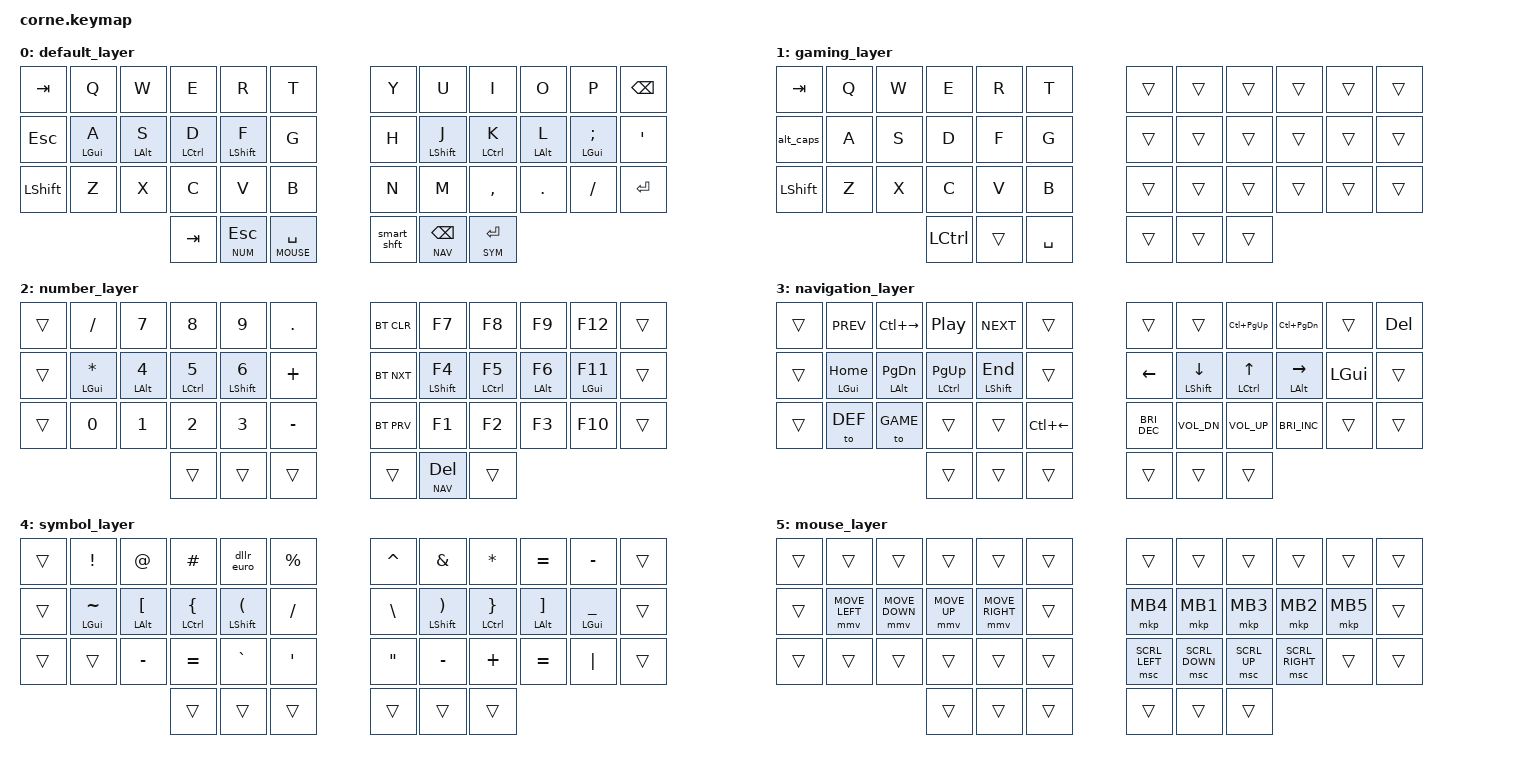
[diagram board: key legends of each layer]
/*
 * Copyright (c) 2020 The ZMK Contributors
 *
 * SPDX-License-Identifier: MIT
 */

// zmk files
#include <behaviors.dtsi>
#include <dt-bindings/zmk/keys.h>
#include <dt-bindings/zmk/bt.h>

#define ZMK_POINTING_DEFAULT_MOVE_VAL 1500  // default: 600
#define UNICODE_COMBO_TIMEOUT 150 // ca. 10500/(relaxed typing speed)
#define ZMK_POINTING_DEFAULT_SCRL_VAL 50    // default: 10

#include <dt-bindings/zmk/pointing.h>

// placeholder names to make layers more readable
#define DEF 0
#define GAME 1
#define NUM 2
#define NAV 3
#define SYM 4
#define MOUSE 5

// my own headers
#include "keys_helper.h"
// #include "unicode_helper.h"
// #include "combos_helper.h"
// #include "qwertz_helper.h"

// ms timings for homerow mods for each side
#define HOMEROW_TAPPING_TERM 280
#define HOMEROW_QUICK_TAP 150 // ca. 10500/(relaxed typing speed)

&sk {  // sticky-key config
    release-after-ms = <600>; // release after 0.6s
    quick-release; // no double capitalization when rolling keys
};

&sl {  // sticky-layer config
    ignore-modifiers; // allow chording sticky mods & layers
};

&lt {  // layer-tap config
    flavor = "balanced";
    tapping-term-ms = <200>;
    quick-tap-ms = <HOMEROW_QUICK_TAP>;
};

&caps_word { // mods don't deactivate caps-word anymore
    /delete-property/ ignore-modifiers;
};

&mmv {
    x-input-code = <INPUT_REL_X>;
    y-input-code = <INPUT_REL_Y>;
    time-to-max-speed-ms = <1000>;
    acceleration-exponent = <1>;
};

&msc {
    x-input-code = <INPUT_REL_HWHEEL>;
    y-input-code = <INPUT_REL_WHEEL>;
    time-to-max-speed-ms = <1000>;
    acceleration-exponent = <1>;
};

/ {
    // https://zmk.dev/docs/features/conditional-layers
    conditional_layers {
        compatible = "zmk,conditional-layers";
        tri_layer {
            if-layers = <NUM NAV>;
            then-layer = <SYM>;
        };
    };

    combos {
        compatible = "zmk,combos";
        combo_ae {
            timeout-ms = <UNICODE_COMBO_TIMEOUT>;
            key-positions = <UC_A UC_E>;
            bindings = <&kp RA(Q)>;
            layers = <SYM>;
        };
        
        combo_oe {
            timeout-ms = <UNICODE_COMBO_TIMEOUT>;
            key-positions = <UC_O UC_E>;
            bindings = <&kp RA(P)>;
            layers = <SYM>;
        };
        
        combo_ue {
            timeout-ms = <UNICODE_COMBO_TIMEOUT>;
            key-positions = <UC_U UC_E>;
            bindings = <&kp RA(Y)>;
            layers = <SYM>;
        };

        combo_sz {
            timeout-ms = <UNICODE_COMBO_TIMEOUT>;
            key-positions = <UC_S UC_Z>;
            bindings = <&kp RA(S)>;
            layers = <SYM>;
        };
    };
    
    behaviors { 
        // tap -> dollar | shift + tap -> euro
        dllr_euro: dllr_euro {
            compatible = "zmk,behavior-mod-morph";
            #binding-cells = <0>;
            bindings = <&kp DLLR>, <&kp RA(N5)>;
            mods = <(MOD_LSFT|MOD_RSFT)>;
        };
        hml: homerow_mods_left {
            compatible = "zmk,behavior-hold-tap";
            #binding-cells = <2>;
            tapping-term-ms = <HOMEROW_TAPPING_TERM>;
            quick-tap-ms = <HOMEROW_QUICK_TAP>;
            require-prior-idle-ms = <HOMEROW_QUICK_TAP>;
            flavor = "balanced";
            bindings = <&kp>, <&kp>;
            hold-trigger-key-positions = <RSIDE THUMBS>;
            hold-trigger-on-release; 
        };
        hmr: homerow_mods_right {
            compatible = "zmk,behavior-hold-tap";
            #binding-cells = <2>;
            tapping-term-ms = <HOMEROW_TAPPING_TERM>;
            quick-tap-ms = <HOMEROW_QUICK_TAP>;
            require-prior-idle-ms = <HOMEROW_QUICK_TAP>;
            flavor = "balanced";
            bindings = <&kp>, <&kp>;
            hold-trigger-key-positions = <LSIDE THUMBS>;
            hold-trigger-on-release; 
        };
        // tap -> sticky shift | shift + tap or double tap -> caps-word | hold -> shift
        smart_shft: smart_shft {
            compatible = "zmk,behavior-mod-morph";
            #binding-cells = <0>;
            bindings = <&sk LSHFT>, <&caps_word>;
            mods = <(MOD_LSFT|MOD_RSFT)>;
        };
        // tap or hold -> LALT | double tap -> Caps Lock
        alt_caps: alt_caps {
            compatible = "zmk,behavior-tap-dance";
            #binding-cells = <0>;
            tapping-term-ms = <200>;
            bindings = <&kp LALT>, <&kp CAPS>;
        };
    };

    keymap {
        compatible = "zmk,keymap";

        default_layer {
// -----------------------------------------------------------------------------------------
// | TAB |  Q  |  W  |  E  |  R  |  T  |   |  Y  |  U  |  I  |  O  |  P  | BKSP |
// | ESC |  A  |  S  |  D  |  F  |  G  |   |  H  |  J  |  K  |  L  |  ;  |  '   |
// | SHFT|  Z  |  X  |  C  |  V  |  B  |   |  N  |  M  |  ,  |  .  |  /  | RET  |
//                   | TAB | ESC | SPC |   | SHFT| BKSP| RET |
            bindings = <
    &kp TAB   &kp Q       &kp W       &kp E         &kp R        &kp T     /**/ &kp Y       &kp U        &kp I        &kp O       &kp P          &kp BSPC
    &kp ESC   &hml LGUI A &hml LALT S &hml LCTRL D  &hml LSHFT F &kp G     /**/ &kp H       &hmr LSHFT J &hmr LCTRL K &hmr LALT L &hmr LGUI SEMI &kp SQT
    &kp LSHFT &kp Z       &kp X       &kp C         &kp V        &kp B     /**/ &kp N       &kp M        &kp COMMA    &kp DOT     &kp FSLH       &kp RET
                                      &kp TAB &lt NUM ESC  &lt MOUSE SPACE /**/ &smart_shft &lt NAV BSPC &lt SYM RET
            >;
        };

        gaming_layer {
// -----------------------------------------------------------------------------------------
// | TAB |  Q  |  W  |  E  |  R  |  T  |   |  Y  |  U  |  I  |  O  |  P  | BSPC |
// | LALT|  A  |  S  |  D  |  F  |  G  |   |  H  |  J  |  K  |  L  |  ;  |  '   |
// | LSFT|  Z  |  X  |  C  |  V  |  B  |   |  N  |  M  |  ,  |  .  |  /  | RET  |
//                   |     |     |     |   |     |     |     |
            bindings = <
    &kp TAB   &kp Q &kp W &kp E     &kp R  &kp T     /**/ &trans &trans &trans &trans &trans &trans
    &alt_caps &kp A &kp S &kp D     &kp F  &kp G     /**/ &trans &trans &trans &trans &trans &trans
    &kp LSHFT &kp Z &kp X &kp C     &kp V  &kp B     /**/ &trans &trans &trans &trans &trans &trans
                          &kp LCTRL &trans &kp SPACE /**/ &trans &trans &trans
            >;
        };

        number_layer {
// -----------------------------------------------------------------------------------------
// |     |  /  |  7  |  8  |  9  |  .  |   | CLR |  F7 |  F8 |  F9 | F12 |     |
// |     |  *  |  4  |  5  |  6  |  +  |   | NXT |  F4 |  F5 |  F6 | F11 |     |
// |     |  0  |  1  |  2  |  3  |  -  |   | PRV |  F1 |  F2 |  F3 | F10 |     |
//                   |     |     |     |   |     |     |     |
            bindings = <
    &trans &kp FSLH       &kp N7       &kp N8        &kp N9        &kp DOT   /**/ &bt BT_CLR &kp F7        &kp F8        &kp F9       &kp F12       &trans
    &trans &hml LGUI STAR &hml LALT N4 &hml LCTRL N5 &hml LSHFT N6 &kp PLUS  /**/ &bt BT_NXT &hmr LSHFT F4 &hmr LCTRL F5 &hmr LALT F6 &hmr LGUI F11 &trans
    &trans &kp N0         &kp N1       &kp N2        &kp N3        &kp MINUS /**/ &bt BT_PRV &kp F1        &kp F2        &kp F3       &kp F10       &trans
                                       &trans        &trans        &trans    /**/ &trans  &lt NAV DEL   &trans
            >;
        };

        navigation_layer {
// -----------------------------------------------------------------------------------------
// |     |  <- |WRDLE| PLAY|  -> |     |   |     |PRETAB|NXTTAB|     |     | DEL |
// |     | LFT | DWN |  UP | RGT |     |   | LEFT| DOWN |  UP  |RIGHT| GUI |     |
// |     |toDEF|toALT|toWNC|toGME|WRDRI|   |BRIDC|VOLDWN| VOLUP|BRIIC|     |     |
//                   |     |     |     |   |     |      |      |
            bindings = <
    &trans &kp C_PREV     &kp LC(RIGHT)   &kp C_PP         &kp C_NEXT     &trans       /**/ &trans        &trans          &kp LC(PG_UP) &kp LC(PG_DN)   &trans   &kp DEL
    &trans &hml LGUI HOME &hml LALT PG_DN &hml LCTRL PG_UP &hml LSHFT END &trans       /**/ &kp LEFT      &hmr LSHFT DOWN &hmr LCTRL UP &hmr LALT RIGHT &kp LGUI &trans
    &trans &to DEF        &to GAME        &trans           &trans       &kp LC(LEFT) /**/ &kp C_BRI_DEC &kp C_VOL_DN    &kp C_VOL_UP  &kp C_BRI_INC   &trans   &trans
                                          &trans           &trans         &trans       /**/ &trans        &trans          &trans
            >;
        };

        symbol_layer {
// -----------------------------------------------------------------------------------------
// |     |  !  |  @  |  #  |  $  |  %  |   |  ^  |  &  |  *  |  =  |  -  |     |
// |     |  ~  |  [  |  {  |  (  |  /  |   |  \  |  )  |  }  |  ]  |  _  |     |
// |     |     |  -  |  =  |  `  |  '  |   |  "  |  -  |  +  |  =  | "|" |     |
//                   |     |     |     |   |     |     |     |
            bindings = <
    &trans    &kp EXCL        &kp AT         &kp HASH        &dllr_euro      &kp PRCNT /**/ &kp CARET &kp AMPS        &kp STAR        &kp EQUAL      &kp MINUS       &trans
    &trans    &hml LGUI TILDE &hml LALT LBKT &hml LCTRL LBRC &hml LSHFT LPAR &kp FSLH  /**/ &kp BSLH  &hmr LSHFT RPAR &hmr LCTRL RBRC &hmr LALT RBKT &hmr LGUI UNDER &trans
    &trans    &trans          &kp MINUS      &kp EQUAL       &kp GRAVE       &kp SQT   /**/ &kp DQT   &kp MINUS       &kp PLUS        &kp EQUAL      &kp PIPE        &trans
                                             &trans          &trans          &trans    /**/ &trans    &trans          &trans
            >;
        };

        mouse_layer {
            bindings = <
    &trans &trans &trans &trans &trans &trans /**/ &trans &trans &trans &trans &trans &trans
    &trans &mmv MOVE_LEFT &mmv MOVE_DOWN &mmv MOVE_UP &mmv MOVE_RIGHT &trans /**/ &mkp MB4 &mkp MB1 &mkp MB3 &mkp MB2 &mkp MB5 &trans
    &trans &trans &trans &trans &trans &trans /**/ &msc SCRL_LEFT &msc SCRL_DOWN &msc SCRL_UP &msc SCRL_RIGHT &trans &trans
                         &trans &trans &trans /**/ &trans &trans &trans
            >;
        };
    };
};
